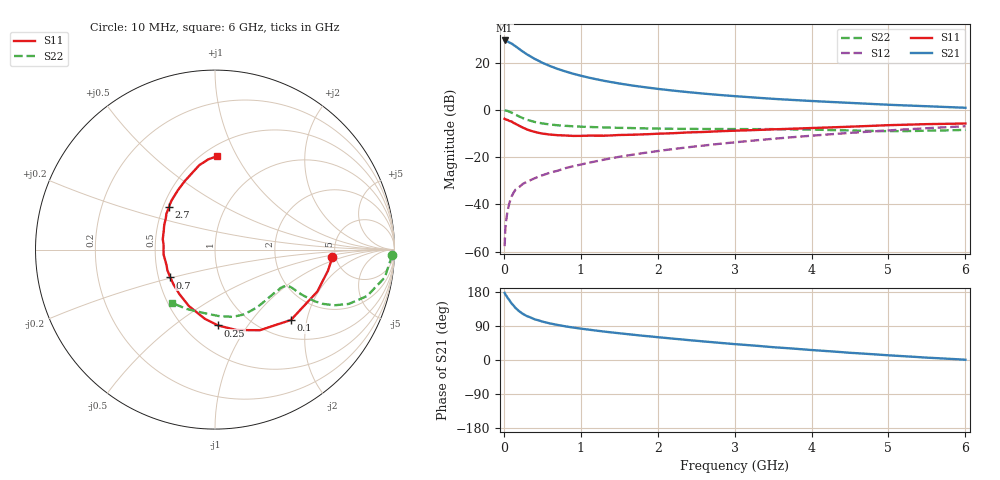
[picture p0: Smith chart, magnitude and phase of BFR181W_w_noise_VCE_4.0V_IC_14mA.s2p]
! Infineon Technologies  Discrete & RF Semiconductors
! BFR181W
! VCE =  4.0 V,  IC =  14 mA
! Common Emitter S-Parameters:  Jan 2017
# GHz  S  MA  R  50
!  f  S11  S21  S12  S22
! GHz  MAG  ANG  MAG  ANG  MAG  ANG  MAG  ANG
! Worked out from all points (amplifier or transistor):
!   77 points, 10 MHz to 6 GHz, reference 50 ohm
!   highest |S21| = 29.5 dB at 10 MHz (marker M1)
!   |S21| within 3 dB of that: start of sweep to 174.1 MHz
!   unconditionally stable (mu >= 1): 819.8 MHz to 2.704 GHz
!   at 130 MHz: K = 0.34, MSG = 31.2 dB, |S12| = -34.8 dB
!   at 2.2 GHz: K = 1.04, MAG = 11.1 dB, |S12| = -16.5 dB
!   at 6 GHz: K = 0.83, MSG = 3.9 dB, |S12| = -6.8 dB
!   lowest NFmin = 1.43 dB at 450 MHz
!   S11 on the Smith chart (normalised r, x): 10 MHz: 4.69, -0.69; 100 MHz: 1.37, -1.61; 250 MHz: 0.72, -0.74; 700 MHz: 0.58, -0.20; 2.7 GHz: 0.54, +0.29; 6 GHz: 0.58, +0.83
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0.01  0.6549 -3.7  30.02 177.2  0.0013 100.5  0.9863 -1.7
0.02  0.641 -10.3  29.59 173.1  0.0032 100.0  0.9795 -3.5
0.05  0.6165 -22.2  28.6 163.8  0.0074 80.4  0.9588 -9.3
0.1  0.5768 -42.8  25.88 149.3  0.0146 74.6  0.8866 -16.9
0.15  0.5144 -60.8  22.74 137.8  0.0204 68.1  0.8045 -22.1
0.2  0.4648 -74.8  19.76 128.5  0.0234 65.8  0.7318 -25.1
0.25  0.423 -87.7  17.32 121.4  0.0274 63.9  0.6727 -26.7
0.3  0.3896 -98.4  15.23 115.8  0.0301 61.8  0.6249 -27.4
0.4  0.3464 -114.9  12.23 107.4  0.0358 62.9  0.5613 -27.5
0.5  0.3181 -128.3  10.1 101.4  0.0414 64.5  0.5216 -27.2
0.6  0.303 -139.1  8.606 96.5  0.0471 64.5  0.4953 -26.7
0.7  0.2937 -148.1  7.47 92.5  0.0518 67.3  0.4771 -26.4
0.9  0.2837 -162.7  5.913 85.7  0.0644 68.7  0.4541 -26.7
1.1  0.2874 -174.0  4.91 80.2  0.0761 69.7  0.4398 -27.6
1.3  0.2867 176.2  4.191 75.1  0.0888 70.3  0.4298 -29.1
1.5  0.2966 168.8  3.672 70.6  0.1021 70.5  0.4207 -31.2
2.1  0.3192 150.7  2.706 58.3  0.1422 69.4  0.4039 -40.0
2.7  0.3497 137.2  2.166 47.2  0.1848 66.9  0.3975 -51.0
3.1  0.37 129.3  1.927 40.4  0.2148 64.7  0.3955 -58.5
4.1  0.422 112.4  1.532 24.9  0.2948 57.5  0.383 -77.5
5.1  0.4838 99.1  1.28 11.2  0.379 48.7  0.3583 -103.7
6  0.5202 88.7  1.121 0.7  0.4549 39.6  0.3817 -128.9
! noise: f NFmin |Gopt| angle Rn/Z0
0.45  1.43  0.06  16  0.21
0.9  1.48  0.06  32  0.21
1.9  1.92  0.11  -141  0.21
2.4  2.13  0.14  -109  0.27
